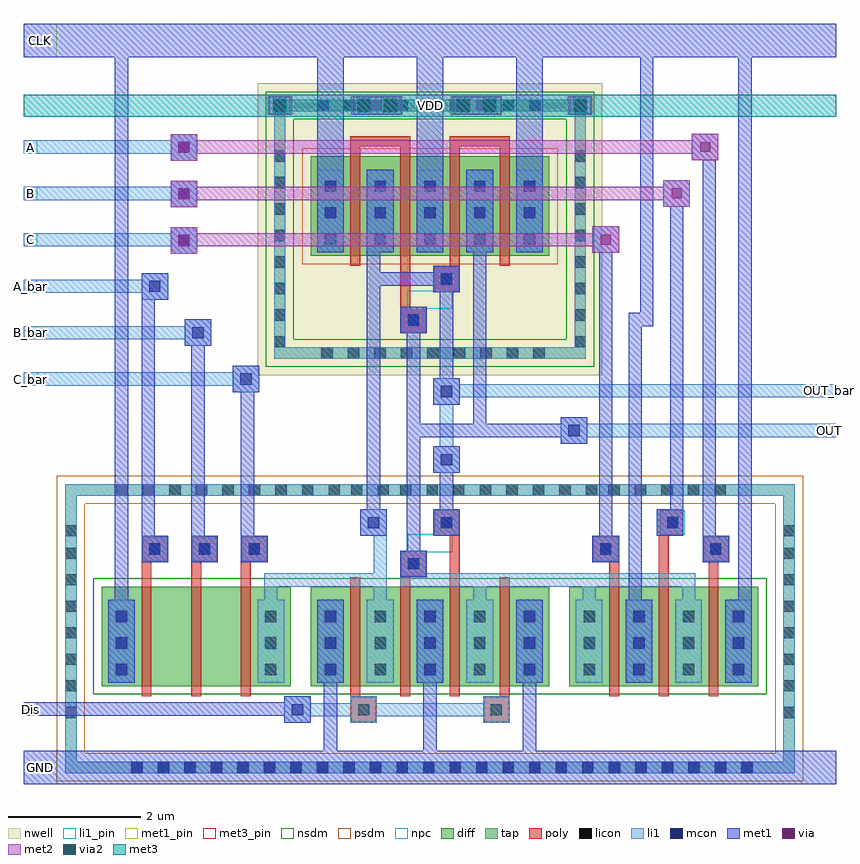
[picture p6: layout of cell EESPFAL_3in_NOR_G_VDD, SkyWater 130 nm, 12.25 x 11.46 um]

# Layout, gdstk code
import gdstk
lib = gdstk.Library(unit=1e-6, precision=1e-09)
def R(c, l, rs):  # rectangles x0, y0, x1, y1
    for r in rs: c.add(gdstk.rectangle(r[:2], r[2:], *l))
def A(c, l, x, y, w, h, nx, ny, dx, dy):  # array of equal rectangles
    R(c, l, [(x+i*dx, y+j*dy, x+i*dx+w, y+j*dy+h) for i in range(nx) for j in range(ny)])
nwell = (64, 20)
diff = (65, 20)
tap = (65, 44)
poly = (66, 20)
licon = (66, 44)
li1_pin = (67, 16)
li1 = (67, 20)
mcon = (67, 44)
met1_pin = (68, 16)
met1 = (68, 20)
via = (68, 44)
met2 = (69, 20)
via2 = (69, 44)
met3_pin = (70, 16)
met3 = (70, 20)
nsdm = (93, 44)
psdm = (94, 20)
npc = (95, 20)

eespfal_3in_nor_g_vdd = lib.new_cell('EESPFAL_3in_NOR_G_VDD')
R(eespfal_3in_nor_g_vdd, nwell, [(-12.225,6.215,-7.03,10.615)])
R(eespfal_3in_nor_g_vdd, diff, [(-14.58,1.525,-11.73,3.025), (-11.43,1.525,-7.83,3.025), (-7.53,1.525,-4.68,3.025), (-11.43,8.015,-7.83,9.515)])
R(eespfal_3in_nor_g_vdd, tap, [(-15.13,0.215,-4.13,0.385), (-15.13,0.385,-14.96,4.4), (-4.3,0.385,-4.13,4.4), (-15.13,4.4,-4.13,4.57), (-11.98,6.465,-7.28,6.635), (-11.98,6.635,-11.81,10.195), (-7.45,6.635,-7.28,10.195), (-11.98,10.195,-7.28,10.365)])
A(eespfal_3in_nor_g_vdd, poly, -13.98, 1.375, 0.15, 2.02, 3, 1, 0.75, 0)
A(eespfal_3in_nor_g_vdd, poly, -13.98, 3.395, 0.4, 0.4, 3, 1, 0.75, 0)
R(eespfal_3in_nor_g_vdd, poly, [(-10.83,0.97,-10.43,1.37), (-8.83,0.97,-8.43,1.37), (-10.83,1.37,-10.68,3.17), (-10.08,1.37,-9.93,3.17), (-9.33,1.37,-9.18,3.79), (-8.58,1.37,-8.43,3.17), (-6.93,1.375,-6.78,3.395), (-6.18,1.375,-6.03,3.795), (-5.43,1.375,-5.28,3.395), (-10.08,3.17,-9.68,3.57), (-7.18,3.395,-6.78,3.795), (-5.52,3.395,-5.12,3.795), (-9.58,3.79,-9.18,4.19), (-6.21,3.795,-5.81,4.195), (-10.08,6.845,-9.68,7.245), (-10.08,7.245,-9.93,9.665), (-9.58,7.465,-9.18,7.865), (-10.83,7.865,-10.68,9.665), (-9.33,7.865,-9.18,9.665), (-8.58,7.865,-8.43,9.665), (-10.83,9.665,-9.93,9.815), (-9.33,9.665,-8.43,9.815)])
A(eespfal_3in_nor_g_vdd, licon, -14.135, 0.215, 0.17, 0.17, 24, 1, 0.4, 0)
A(eespfal_3in_nor_g_vdd, licon, -15.13, 1.045, 0.17, 0.17, 1, 7, 0, 0.4)
A(eespfal_3in_nor_g_vdd, licon, -4.3, 1.045, 0.17, 0.17, 1, 7, 0, 0.4)
A(eespfal_3in_nor_g_vdd, licon, -14.365, 1.69, 0.17, 0.17, 1, 3, 0, 0.4)
A(eespfal_3in_nor_g_vdd, licon, -12.115, 1.69, 0.17, 0.17, 1, 3, 0, 0.4)
A(eespfal_3in_nor_g_vdd, licon, -11.215, 1.69, 0.17, 0.17, 5, 3, 0.75, 0.4)
A(eespfal_3in_nor_g_vdd, licon, -7.315, 1.69, 0.17, 0.17, 4, 3, 0.75, 0.4)
A(eespfal_3in_nor_g_vdd, licon, -13.865, 3.51, 0.17, 0.17, 3, 1, 0.75, 0)
A(eespfal_3in_nor_g_vdd, licon, -14.36, 4.4, 0.17, 0.17, 9, 1, 0.4, 0)
A(eespfal_3in_nor_g_vdd, licon, -10.08, 4.4, 0.17, 0.17, 8, 1, 0.4, 0)
A(eespfal_3in_nor_g_vdd, licon, -6.94, 4.4, 0.17, 0.17, 5, 1, 0.4, 0)
A(eespfal_3in_nor_g_vdd, licon, -11.27, 6.465, 0.17, 0.17, 9, 1, 0.4, 0)
A(eespfal_3in_nor_g_vdd, licon, -11.98, 6.635, 0.17, 0.17, 1, 8, 0, 0.4)
A(eespfal_3in_nor_g_vdd, licon, -7.45, 6.635, 0.17, 0.17, 1, 8, 0, 0.4)
A(eespfal_3in_nor_g_vdd, licon, -11.215, 8.18, 0.17, 0.17, 5, 3, 0.75, 0.4)
A(eespfal_3in_nor_g_vdd, licon, -11.33, 10.195, 0.17, 0.17, 9, 1, 0.4, 0)
R(eespfal_3in_nor_g_vdd, licon, [(-10.715,1.085,-10.545,1.255), (-8.715,1.085,-8.545,1.255), (-9.965,3.285,-9.795,3.455), (-7.065,3.51,-6.895,3.68), (-5.405,3.51,-5.235,3.68), (-15.13,3.785,-14.96,3.955), (-4.3,3.785,-4.13,3.955), (-9.465,3.905,-9.295,4.075), (-6.055,3.91,-5.885,4.08), (-10.82,4.4,-10.65,4.57), (-10.42,4.4,-10.25,4.57), (-9.965,6.96,-9.795,7.13), (-9.465,7.58,-9.295,7.75)])
A(eespfal_3in_nor_g_vdd, li1_pin, -15.755, 6.055, 0.2, 0.2, 1, 6, 0, 0.7)
R(eespfal_3in_nor_g_vdd, li1_pin, [(-3.705,5.28,-3.505,5.48), (-3.705,5.88,-3.505,6.08)])
A(eespfal_3in_nor_g_vdd, li1, -11.33, 1.575, 0.4, 1.25, 5, 2, 0.75, 6.49)
A(eespfal_3in_nor_g_vdd, li1, -7.43, 1.575, 0.4, 1.25, 4, 1, 0.75, 0)
A(eespfal_3in_nor_g_vdd, li1, -13.98, 3.395, 0.4, 0.4, 3, 1, 0.75, 0)
A(eespfal_3in_nor_g_vdd, li1, -15.755, 8.155, 2.615, 0.2, 1, 3, 0, 0.7)
R(eespfal_3in_nor_g_vdd, li1, [(-15.13,0.215,-4.13,0.385), (-15.13,0.385,-14.96,4.4), (-4.3,0.385,-4.13,4.4), (-11.83,0.97,-11.43,1.07), (-10.83,0.97,-10.43,1.07), (-8.83,0.97,-8.43,1.07), (-11.83,1.07,-8.43,1.27), (-11.83,1.27,-11.43,1.37), (-10.83,1.27,-10.43,1.37), (-8.83,1.27,-8.43,1.37), (-14.48,1.575,-14.08,2.825), (-12.23,1.575,-11.83,2.825), (-12.13,2.825,-11.93,3.025), (-10.48,2.825,-10.28,3.025), (-8.98,2.825,-8.78,3.025), (-7.33,2.825,-7.13,3.025), (-5.83,2.825,-5.63,3.025), (-12.13,3.025,-10.28,3.225), (-10.08,3.025,-5.63,3.225), (-10.48,3.225,-10.28,3.79), (-10.08,3.225,-9.68,3.57), (-7.18,3.395,-6.78,3.795), (-5.52,3.395,-5.12,3.795), (-10.68,3.79,-10.28,4.19), (-9.58,3.79,-9.18,4.19), (-6.21,3.795,-5.81,4.195), (-15.13,4.4,-4.13,4.57), (-9.58,4.74,-9.18,5.14), (-9.48,5.14,-9.28,5.77), (-7.66,5.18,-7.26,5.28), (-7.66,5.28,-3.505,5.48), (-7.66,5.48,-7.26,5.58), (-9.58,5.77,-9.18,5.88), (-9.58,5.88,-3.505,6.08), (-12.605,5.955,-12.205,6.055), (-15.755,6.055,-12.205,6.255), (-9.58,6.08,-9.18,6.17), (-12.605,6.255,-12.205,6.355), (-11.98,6.465,-7.28,6.635), (-11.98,6.635,-11.81,10.195), (-7.45,6.635,-7.28,10.195), (-13.33,6.655,-12.93,6.755), (-15.755,6.755,-12.93,6.955), (-10.08,6.845,-9.68,7.245), (-13.33,6.955,-12.93,7.055), (-13.98,7.355,-13.58,7.455), (-15.755,7.455,-13.58,7.655), (-9.58,7.465,-9.18,7.865), (-13.98,7.655,-13.58,7.755), (-13.54,8.045,-13.14,8.155), (-13.54,8.355,-13.14,8.445), (-13.54,8.75,-13.14,8.855), (-13.54,9.055,-13.14,9.15), (-13.54,9.45,-13.14,9.555), (-13.54,9.755,-13.14,9.85), (-11.98,10.195,-7.28,10.365)])
A(eespfal_3in_nor_g_vdd, mcon, -14.135, 0.215, 0.17, 0.17, 24, 1, 0.4, 0)
A(eespfal_3in_nor_g_vdd, mcon, -14.365, 1.69, 0.17, 0.17, 1, 3, 0, 0.4)
A(eespfal_3in_nor_g_vdd, mcon, -11.215, 1.69, 0.17, 0.17, 3, 3, 1.5, 0.4)
A(eespfal_3in_nor_g_vdd, mcon, -6.565, 1.69, 0.17, 0.17, 1, 3, 0, 0.4)
A(eespfal_3in_nor_g_vdd, mcon, -5.065, 1.69, 0.17, 0.17, 1, 3, 0, 0.4)
A(eespfal_3in_nor_g_vdd, mcon, -13.865, 3.51, 0.17, 0.17, 3, 1, 0.75, 0)
A(eespfal_3in_nor_g_vdd, mcon, -11.215, 8.18, 0.17, 0.17, 5, 3, 0.75, 0.4)
R(eespfal_3in_nor_g_vdd, mcon, [(-11.715,1.085,-11.545,1.255), (-9.965,3.285,-9.795,3.455), (-7.065,3.51,-6.895,3.68), (-5.405,3.51,-5.235,3.68), (-10.565,3.905,-10.395,4.075), (-9.465,3.905,-9.295,4.075), (-6.055,3.91,-5.885,4.08), (-9.465,4.855,-9.295,5.025), (-7.545,5.295,-7.375,5.465), (-9.465,5.885,-9.295,6.055), (-12.49,6.07,-12.32,6.24), (-13.215,6.77,-13.045,6.94), (-9.965,6.96,-9.795,7.13), (-13.865,7.47,-13.695,7.64), (-9.465,7.58,-9.295,7.75), (-13.425,8.16,-13.255,8.33), (-13.425,8.865,-13.255,9.035), (-13.425,9.565,-13.255,9.735), (-11.98,10.195,-11.81,10.365), (-10.715,10.195,-10.545,10.365), (-10.315,10.195,-10.145,10.365), (-9.215,10.195,-9.045,10.365), (-8.815,10.195,-8.645,10.365), (-7.45,10.195,-7.28,10.365)])
R(eespfal_3in_nor_g_vdd, met1_pin, [(-15.755,0.05,-15.255,0.55), (-15.755,1.08,-15.555,1.28), (-15.755,11.01,-15.255,11.51)])
A(eespfal_3in_nor_g_vdd, met1, -11.23, 0.55, 0.2, 1.025, 3, 1, 1.5, 0)
A(eespfal_3in_nor_g_vdd, met1, -11.33, 1.575, 0.4, 1.25, 3, 1, 1.5, 0)
A(eespfal_3in_nor_g_vdd, met1, -13.98, 3.395, 0.4, 0.4, 3, 1, 0.75, 0)
A(eespfal_3in_nor_g_vdd, met1, -11.33, 8.065, 0.4, 2.945, 3, 1, 1.5, 0)
R(eespfal_3in_nor_g_vdd, met1, [(-15.755,0.05,-3.505,0.55), (-11.83,0.97,-11.43,1.08), (-15.755,1.08,-11.43,1.28), (-11.83,1.28,-11.43,1.37), (-14.48,1.575,-14.08,2.825), (-6.68,1.575,-6.28,2.825), (-5.18,1.575,-4.78,2.825), (-14.38,2.825,-14.18,11.01), (-6.635,2.825,-6.435,6.955), (-4.98,2.825,-4.78,11.01), (-10.08,3.17,-9.68,3.57), (-7.18,3.395,-6.78,3.795), (-5.52,3.395,-5.12,3.795), (-9.98,3.57,-9.78,5.28), (-10.68,3.79,-10.28,4.19), (-9.58,3.79,-9.18,4.19), (-13.98,3.795,-13.78,7.355), (-13.23,3.795,-13.03,6.655), (-12.48,3.795,-12.28,5.955), (-7.08,3.795,-6.88,8.06), (-6.21,3.795,-5.81,4.195), (-5.52,3.795,-5.32,9.455), (-10.58,4.19,-10.38,7.565), (-9.48,4.19,-9.28,4.74), (-6.01,4.195,-5.81,8.755), (-9.58,4.74,-9.18,5.14), (-7.66,5.18,-7.26,5.28), (-9.98,5.28,-7.26,5.48), (-9.98,5.48,-9.78,6.845), (-8.98,5.48,-8.78,8.065), (-7.66,5.48,-7.26,5.58), (-9.58,5.77,-9.18,6.17), (-12.605,5.955,-12.205,6.355), (-9.48,6.17,-9.28,7.465), (-13.33,6.655,-12.93,7.055), (-10.08,6.845,-9.68,7.245), (-6.635,6.955,-6.26,7.155), (-6.46,7.155,-6.26,11.01), (-13.98,7.355,-13.58,7.755), (-9.58,7.465,-9.18,7.565), (-10.58,7.565,-9.18,7.765), (-10.58,7.765,-10.38,8.065), (-9.58,7.765,-9.18,7.865), (-13.54,8.045,-13.14,8.445), (-7.18,8.06,-6.78,8.46), (-10.58,8.065,-10.18,9.315), (-9.08,8.065,-8.68,9.315), (-13.54,8.75,-13.14,9.15), (-6.11,8.755,-5.71,9.155), (-13.54,9.45,-13.14,9.85), (-5.68,9.455,-5.28,9.855), (-12.055,10.15,-11.735,10.41), (-10.79,10.15,-10.055,10.41), (-9.29,10.15,-8.555,10.41), (-7.525,10.15,-7.205,10.41), (-15.755,11.01,-3.505,11.51)])
R(eespfal_3in_nor_g_vdd, via, [(-13.415,8.17,-13.265,8.32), (-7.055,8.185,-6.905,8.335), (-13.415,8.875,-13.265,9.025), (-5.985,8.88,-5.835,9.03), (-13.415,9.575,-13.265,9.725), (-5.555,9.58,-5.405,9.73), (-11.97,10.205,-11.82,10.355), (-10.705,10.205,-10.555,10.355), (-10.305,10.205,-10.155,10.355), (-9.205,10.205,-9.055,10.355), (-8.805,10.205,-8.655,10.355), (-7.44,10.205,-7.29,10.355)])
R(eespfal_3in_nor_g_vdd, met2, [(-13.54,8.045,-13.14,8.155), (-7.18,8.06,-6.78,8.155), (-13.54,8.155,-6.78,8.355), (-13.54,8.355,-13.14,8.445), (-7.18,8.355,-6.78,8.46), (-13.54,8.75,-13.14,8.855), (-6.11,8.755,-5.71,8.855), (-13.54,8.855,-5.71,9.055), (-13.54,9.055,-13.14,9.15), (-6.11,9.055,-5.71,9.155), (-13.54,9.45,-13.14,9.555), (-5.68,9.455,-5.28,9.555), (-13.54,9.555,-5.28,9.755), (-13.54,9.755,-13.14,9.85), (-5.68,9.755,-5.28,9.855), (-12.08,10.14,-11.71,10.42), (-10.815,10.14,-10.045,10.42), (-9.315,10.14,-8.545,10.42), (-7.55,10.14,-7.18,10.42)])
R(eespfal_3in_nor_g_vdd, via2, [(-11.995,10.18,-11.795,10.38), (-10.73,10.18,-10.53,10.38), (-10.33,10.18,-10.13,10.38), (-9.23,10.18,-9.03,10.38), (-8.83,10.18,-8.63,10.38), (-7.465,10.18,-7.265,10.38)])
R(eespfal_3in_nor_g_vdd, met3_pin, [(-15.755,10.115,-3.505,10.445)])
R(eespfal_3in_nor_g_vdd, met3, [(-15.755,10.115,-3.505,10.445)])
R(eespfal_3in_nor_g_vdd, nsdm, [(-14.705,1.4,-4.555,3.15), (-12.105,6.34,-7.155,6.76), (-12.105,6.76,-11.685,10.07), (-7.575,6.76,-7.155,10.07), (-12.105,10.07,-7.155,10.49)])
R(eespfal_3in_nor_g_vdd, psdm, [(-15.255,0.09,-4.005,0.51), (-15.255,0.51,-14.835,4.275), (-4.425,0.51,-4.005,4.275), (-15.255,4.275,-4.005,4.695), (-11.555,7.89,-7.705,9.64)])
A(eespfal_3in_nor_g_vdd, npc, -13.965, 3.41, 0.37, 0.37, 3, 1, 0.75, 0)
R(eespfal_3in_nor_g_vdd, npc, [(-10.815,0.985,-10.445,1.355), (-8.815,0.985,-8.445,1.355), (-10.065,3.185,-9.695,3.545), (-7.165,3.41,-6.795,3.78), (-5.505,3.41,-5.135,3.78), (-10.065,3.545,-9.295,3.555), (-9.965,3.555,-9.295,3.805), (-9.965,3.805,-9.195,3.815), (-6.155,3.81,-5.785,4.18), (-9.565,3.815,-9.195,4.175), (-10.065,6.86,-9.695,7.22), (-10.065,7.22,-9.295,7.23), (-9.965,7.23,-9.295,7.48), (-9.965,7.48,-9.195,7.49), (-9.565,7.49,-9.195,7.85)])
eespfal_3in_nor_g_vdd.add(gdstk.Label('C_bar', (-15.655,6.155), layer=67, texttype=5))
eespfal_3in_nor_g_vdd.add(gdstk.Label('C', (-15.655,8.255), layer=67, texttype=5))
eespfal_3in_nor_g_vdd.add(gdstk.Label('B_bar', (-15.655,6.855), layer=67, texttype=5))
eespfal_3in_nor_g_vdd.add(gdstk.Label('A_bar', (-15.655,7.555), layer=67, texttype=5))
eespfal_3in_nor_g_vdd.add(gdstk.Label('B', (-15.655,8.955), layer=67, texttype=5))
eespfal_3in_nor_g_vdd.add(gdstk.Label('A', (-15.655,9.655), layer=67, texttype=5))
eespfal_3in_nor_g_vdd.add(gdstk.Label('OUT_bar', (-3.605,5.98), layer=67, texttype=5))
eespfal_3in_nor_g_vdd.add(gdstk.Label('OUT', (-3.605,5.38), layer=67, texttype=5))
eespfal_3in_nor_g_vdd.add(gdstk.Label('VDD', (-9.63,10.28), layer=70, texttype=5))
eespfal_3in_nor_g_vdd.add(gdstk.Label('Dis', (-15.655,1.18), layer=68, texttype=5))
eespfal_3in_nor_g_vdd.add(gdstk.Label('GND', (-15.505,0.3), layer=68, texttype=5))
eespfal_3in_nor_g_vdd.add(gdstk.Label('CLK', (-15.505,11.26), layer=68, texttype=5))

lib.write_gds('EESPFAL_3in_NOR_G_VDD.gds')
